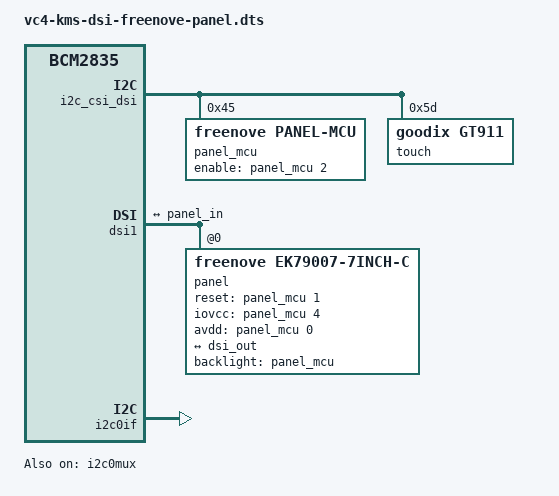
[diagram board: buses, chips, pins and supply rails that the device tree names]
/*
 * Device tree overlay for the Freenove "7inch C" MIPI-DSI panel (EK79007
 * glass, 1024x600). It only draws the wiring diagram; the behaviour comes
 * from the two out-of-tree drivers that have to be installed with it:
 *
 *   freenove-panel-regulator.ko   compatible "freenove,panel-mcu"
 *       The MCU on the panel board at I2C 0x45. Its mask registers 0x94
 *       (bits 15..8) and 0x95 (bits 7..0) become a GPIO controller, and 0x96
 *       becomes a backlight device.
 *       Bits used by this overlay: 0 AVDD, 1 LCD_RESET, 2 BL_EN, 4 IOVCC,
 *       8/9 VCC.
 *
 *   panel-freenove-ek79007.ko     compatible "freenove,ek79007-7inch-c"
 *       The DSI panel driver: sequences the supplies through the MCU pins
 *       declared below, then sends the EK79007 init set (0x80..0x87,
 *       0xB0..0xB2, Sleep Out, Display On). Timing 1024x600 at 51.7 MHz,
 *       blanking 160/10/160 + 12/1/23.
 *
 * Wiring:
 *
 *   SoC --- 2-lane MIPI DSI, video mode ---> EK79007 glass
 *   SoC --- I2C ---+--- on-panel MCU @ 0x45 (supplies, reset, backlight)
 *                  +--- GT911 touch     @ 0x5d
 *
 * Build and install on the Pi:
 *   dtc -@ -I dts -O dtb -o vc4-kms-dsi-freenove-panel.dtbo \
 *       vc4-kms-dsi-freenove-panel.dts
 *   sudo cp vc4-kms-dsi-freenove-panel.dtbo /boot/firmware/overlays/
 *   then in /boot/firmware/config.txt:
 *     dtoverlay=vc4-kms-v3d
 *     dtoverlay=vc4-kms-dsi-freenove-panel
 */

/dts-v1/;
/plugin/;	/* an overlay the firmware grafts onto the real device tree */

/ {
	compatible = "brcm,bcm2835";	/* lets the firmware recognise this as applying to Raspberry Pi boards */

	/*
	 * --- fragment@0: the I2C bus on the DSI connector ---
	 * Declaring the MCU as a gpio-controller is what makes every
	 * <&panel_mcu N 0> reference later in this file mean "mask bit N,
	 * polarity GPIO_ACTIVE_HIGH".
	 */
	i2c_frag: fragment@0 {
		target = <&i2c_csi_dsi>;	/* DSI1 side by default, see the dsi0/dsi1 parameters below */
		__overlay__ {
			#address-cells = <1>;	/* child nodes are addressed by their I2C address, one cell */
			#size-cells = <0>;	/* I2C devices have no register window to describe */
			status = "okay";	/* the connector bus is disabled in the base tree */

			/* the MCU on the panel board, bound by freenove-panel-regulator */
			panel_mcu: panel-mcu@45 {
				compatible = "freenove,panel-mcu";
				reg = <0x45>;
				gpio-controller;	/* this node supplies GPIOs instead of consuming them */
				#gpio-cells = <2>;	/* a reference carries two cells: bit number and flags */
				/* bit 2 is BL_EN, the backlight gate. The reference points back into
				 * this very node, which is why the driver registers its gpio_chip
				 * before asking for this descriptor.
				 */
				enable-gpios = <&panel_mcu 2 0>;
			};

			/* the touch controller, served by the in-tree goodix driver */
			touch: goodix@5d {
				compatible = "goodix,gt911";
				reg = <0x5d>;
				/* coordinate range reported to the input layer;
				 * the sizex=/sizey= parameters below can override it at boot
				 */
				touchscreen-size-x = <800>;
				touchscreen-size-y = <480>;
			};
		};
	};

	/*
	 * --- fragment@1: the MIPI DSI host ---
	 * The panel hangs off the DSI bus as a child node. The mipi_dsi core
	 * builds a DSI device from it, which is what panel-freenove-ek79007
	 * then binds to.
	 */
	dsi_frag: fragment@1 {
		target = <&dsi1>;	/* the default connector; dsi0 below moves host and bus together */
		__overlay__ {
			#address-cells = <1>;	/* DSI children are addressed by virtual channel number */
			#size-cells = <0>;
			status = "okay";	/* the host is turned off in the base tree */

			/* OF graph, host side: this output ends in the panel's input */
			port {
				dsi_out: endpoint {
					remote-endpoint = <&panel_in>;
				};
			};

			/* the panel on virtual channel 0, bound by panel-freenove-ek79007 */
			panel: dsi_panel@0 {
				reg = <0>;	/* DSI virtual channel */
				compatible = "freenove,ek79007-7inch-c";

				/* no supply or reset reaches the SoC: the panel driver has to raise
				 * IOVCC (bit 4), AVDD (bit 0) and release reset (bit 1) through the MCU
				 */
				reset-gpios = <&panel_mcu 1 0>;
				iovcc-gpios = <&panel_mcu 4 0>;
				avdd-gpios = <&panel_mcu 0 0>;

				/* the backlight device is the one the MCU driver registers for 0x96;
				 * this phandle is what drm_panel_of_backlight() resolves, which puts
				 * brightness under /sys/class/backlight/
				 */
				backlight = <&panel_mcu>;

				/* OF graph, panel side: the endpoint must point back, or the link is broken */
				port {
					panel_in: endpoint {
						remote-endpoint = <&dsi_out>;
					};
				};
			};
		};
	};

	/* --- fragment@2/@3: i2c_csi_dsi hangs behind i2c0, so that chain has to be on too --- */
	fragment@2 {
		target = <&i2c0if>;	/* the i2c0 interface */
		__overlay__ {
			status = "okay";
		};
	};

	fragment@3 {
		target = <&i2c0mux>;	/* and the multiplexer in front of it */
		__overlay__ {
			status = "okay";
		};
	};

	/*
	 * --- boot-time parameters, written as dtoverlay=...,param=value ---
	 * Each entry names a node, a property and the byte offset to patch;
	 * a "?" after the property name means "set this boolean flag when the
	 * parameter appears".
	 */
	__overrides__ {
		/* a deliberate no-op: DSI1 is already the target, so this only makes
		 * the ",dsi1" spelling known to the firmware instead of producing an
		 * unknown-parameter warning for people who write it explicitly
		 */
		dsi1 = <&dsi_frag>, "target:0=", <&dsi1>,
		       <&i2c_frag>, "target:0=", <&i2c_csi_dsi>;
		/* move host and I2C fragment to the DSI0 connector */
		dsi0 = <&dsi_frag>, "target:0=", <&dsi0>,
		       <&i2c_frag>, "target:0=", <&i2c_csi_dsi0>;
		/* display-only setup: keep the controller off the bus */
		disable_touch = <&touch>, "status=disabled";
		/* mounting orientation 0/90/180/270, read by the panel driver */
		rotation = <&panel>, "rotation:0";
		/* calibration for panels mounted rotated or flipped */
		invx = <&touch>, "touchscreen-inverted-x?";
		invy = <&touch>, "touchscreen-inverted-y?";
		swapxy = <&touch>, "touchscreen-swapped-x-y?";
		/* patch the range declared in the touch node above */
		sizex = <&touch>, "touchscreen-size-x:0";
		sizey = <&touch>, "touchscreen-size-y:0";
	};
};
